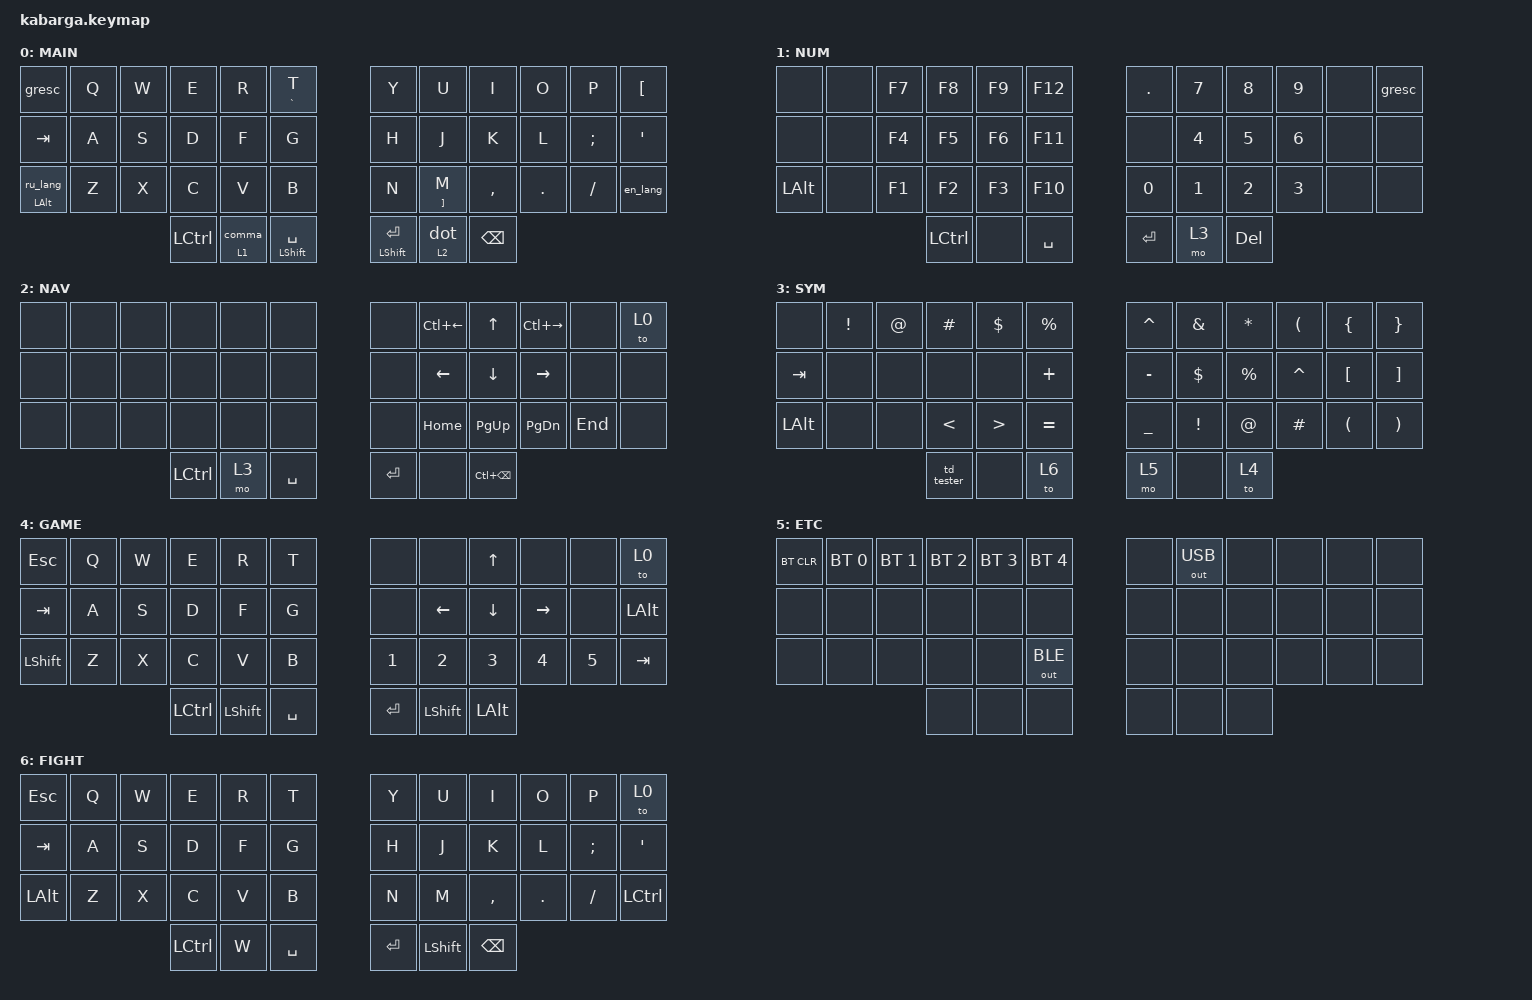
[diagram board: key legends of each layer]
/*
 * Copyright (c) 2020 The ZMK Contributors
 *
 * SPDX-License-Identifier: MIT
 */
// #include <dt-bindings/zmk/bt.h>
// #include <dt-bindings/zmk/outputs.h>
// #include <dt-bindings/zmk/ext_power.h>

#include <behaviors.dtsi>
#include <dt-bindings/zmk/bt.h>
#include <dt-bindings/zmk/keys.h>
#include <dt-bindings/zmk/outputs.h>

#define MAIN    0
#define NUM     1
#define NAV     2
#define SYM     3
#define GAME    4

&sk { quick-release; };

&mt { flavor = "tap-preferred"; };

/ {
    combos {
        compatible = "zmk,combos";

        boot {
            bindings = <&bootloader>;
            key-positions = <24 35>;
            layers = <4>;
        };
    };

    macros {
        comma: comma {
            compatible = "zmk,behavior-macro";
            #binding-cells = <0>;
            bindings = <&kp LS(FSLH) &kp SPACE>;
            label = "COMMA";
            wait-ms = <20>;
            tap-ms = <20>;
        };

        dot: dot {
            compatible = "zmk,behavior-macro";
            #binding-cells = <0>;
            bindings = <&kp FSLH &kp SPACE &sk LSHIFT>;
            label = "DOT";
            wait-ms = <20>;
            tap-ms = <20>;
        };

        unlock: unlock {
            compatible = "zmk,behavior-macro";
            #binding-cells = <0>;
            bindings = <&kp D &kp F &kp C &kp B &kp K &kp B &kp Q &kp RET>;
            label = "UNLOCK";
        };

        macos: macos {
            compatible = "zmk,behavior-macro";
            #binding-cells = <0>;
            bindings = <&kp N &kp A &kp G &kp O &kp R &kp S &kp H &kp K &kp E>;
            label = "MACOS";
        };

        raspberrypi: raspberrypi {
            compatible = "zmk,behavior-macro";
            #binding-cells = <0>;
            bindings = <&kp S &kp I &kp D &kp E &kp L &kp K &kp O &kp R &kp O &kp L &kp RET>;
            label = "RASPBERRYPI";
        };

        en_lang: en_lang {
            compatible = "zmk,behavior-macro";
            #binding-cells = <0>;
            bindings = <&kp LC(LS(N0))>;
            label = "EN_LANG";
        };

        ru_lang: ru_lang {
            compatible = "zmk,behavior-macro";
            #binding-cells = <0>;
            bindings = <&kp LS(LC(N1))>;
            label = "RU_LANG";
        };
    };

    behaviors {
        tap_comma: tap_comma {
            compatible = "zmk,behavior-hold-tap";
            label = "TAP_COMMA";
            bindings = <&mo>, <&comma>;

            #binding-cells = <2>;
            tapping-term-ms = <400>;
        };

        tap_dot: tap_dot {
            compatible = "zmk,behavior-hold-tap";
            label = "TAP_DOT";
            bindings = <&mo>, <&dot>;

            #binding-cells = <2>;
            tapping-term-ms = <400>;
        };

        td_tester: td_tester {
            compatible = "zmk,behavior-tap-dance";
            label = "TD_TESTER";
            #binding-cells = <0>;
            bindings = <&unlock>, <&macos>, <&raspberrypi>;
        };

        ru: ru {
            compatible = "zmk,behavior-hold-tap";
            label = "RU";
            bindings = <&kp>, <&ru_lang>;

            #binding-cells = <2>;
            tapping-term-ms = <400>;
        };
    };

    keymap {
        compatible = "zmk,keymap";

        main {
            bindings = <
&gresc      &kp Q  &kp W  &kp E      &kp R           &mt GRAVE T           &kp Y  &kp U               &kp I         &kp O          &kp P     &kp LEFT_BRACKET
&kp TAB     &kp A  &kp S  &kp D      &kp F           &kp G                 &kp H  &kp J               &kp K         &kp L          &kp SEMI  &kp SQT
&ru LALT 0  &kp Z  &kp X  &kp C      &kp V           &kp B                 &kp N  &mt RBKT M          &kp COMMA     &kp DOT        &kp FSLH  &en_lang
                          &kp LCTRL  &tap_comma 1 0  &mt LEFT_SHIFT SPACE         &mt LEFT_SHIFT RET  &tap_dot 2 0  &kp BACKSPACE
            >;

            label = "MAIN";
        };

        num {
            bindings = <
&none         &none  &kp F7  &kp F8     &kp F9  &kp F12    &kp DOT  &kp N7        &kp N8  &kp N9      &none  &gresc
&none         &none  &kp F4  &kp F5     &kp F6  &kp F11    &none    &kp NUMBER_4  &kp N5  &kp N6      &none  &none
&kp LEFT_ALT  &none  &kp F1  &kp F2     &kp F3  &kp F10    &kp N0   &kp N1        &kp N2  &kp N3      &none  &none
                             &kp LCTRL  &none   &kp SPACE           &kp RET       &mo 3   &kp DELETE
            >;

            label = "NUM";
        };

        nav {
            bindings = <
&none  &none  &none  &none      &none  &none      &none  &kp LC(LEFT)  &kp UP     &kp LC(RIGHT)      &none    &to 0
&none  &none  &none  &none      &none  &none      &none  &kp LEFT      &kp DOWN   &kp RIGHT          &none    &none
&none  &none  &none  &none      &none  &none      &none  &kp HOME      &kp PG_UP  &kp PG_DN          &kp END  &none
                     &kp LCTRL  &mo 3  &kp SPACE         &kp RET       &none      &kp LC(BACKSPACE)
            >;

            label = "NAV";
        };

        sym {
            bindings = <
&none         &kp EXCL  &kp AT  &kp HASH    &kp DLLR  &kp PRCNT  &kp CARET  &kp AMPS  &kp ASTRK  &kp LPAR   &kp LBRC  &kp RBRC
&kp TAB       &none     &none   &none       &none     &kp PLUS   &kp MINUS  &kp DLLR  &kp PRCNT  &kp CARET  &kp LBKT  &kp RBKT
&kp LEFT_ALT  &none     &none   &kp LT      &kp GT    &kp EQUAL  &kp UNDER  &kp EXCL  &kp AT     &kp HASH   &kp LPAR  &kp RPAR
                                &td_tester  &none     &to 6                 &mo 5     &none      &to 4
            >;

            label = "SYM";
        };

        game {
            bindings = <
&kp ESC    &kp Q  &kp W  &kp E             &kp R      &kp T      &none         &none     &kp UP     &none      &none   &to 0
&kp TAB    &kp A  &kp S  &kp D             &kp F      &kp G      &none         &kp LEFT  &kp DOWN   &kp RIGHT  &none   &kp LALT
&kp LSHFT  &kp Z  &kp X  &kp C             &kp V      &kp B      &kp NUMBER_1  &kp N2    &kp N3     &kp N4     &kp N5  &kp TAB
                         &kp LEFT_CONTROL  &kp LSHFT  &kp SPACE                &kp RET   &kp LSHFT  &kp LALT
            >;

            label = "GAME";
        };

        etc {
            bindings = <
&bt BT_CLR  &bt BT_SEL 0  &bt BT_SEL 1  &bt BT_SEL 2  &bt BT_SEL 3  &bt BT_SEL 4  &none  &out OUT_USB  &none  &none  &none  &none
&none       &none         &none         &none         &none         &none         &none  &none         &none  &none  &none  &none
&none       &none         &none         &none         &none         &out OUT_BLE  &none  &none         &none  &none  &none  &none
                                        &none         &none         &none                &none         &none  &none
            >;

            label = "ETC";
        };

        fighting {
            bindings = <
&kp ESC   &kp Q  &kp W  &kp E      &kp R  &kp T      &kp Y  &kp U      &kp I      &kp O     &kp P     &to 0
&kp TAB   &kp A  &kp S  &kp D      &kp F  &kp G      &kp H  &kp J      &kp K      &kp L     &kp SEMI  &kp SQT
&kp LALT  &kp Z  &kp X  &kp C      &kp V  &kp B      &kp N  &kp M      &kp COMMA  &kp DOT   &kp FSLH  &kp LCTRL
                        &kp LCTRL  &kp W  &kp SPACE         &kp ENTER  &kp LSHFT  &kp BSPC
            >;

            label = "FIGHT";
        };
    };
};
